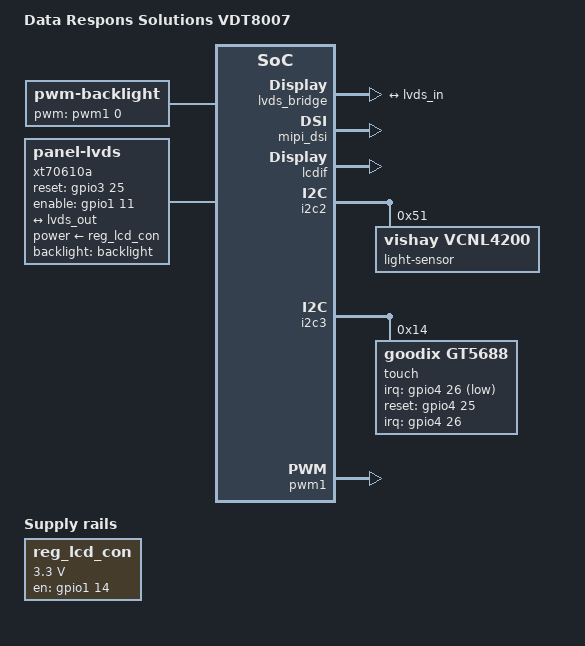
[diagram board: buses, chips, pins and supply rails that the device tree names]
// SPDX-License-Identifier: (GPL-2.0+ OR MIT)
/*
 * Copyright 2021 Data Respons Solutions AB
 */

/dts-v1/;

#include "sdb8000.dts"

/ {
	model = "Data Respons Solutions VDT8007";

	reg_lcd_con: regulator-lcd-con {
		compatible = "regulator-fixed";
		pinctrl-names = "default";
		pinctrl-0 = <&pinctrl_reg_lcd_con>;
		regulator-name = "LCD_CON-VDD";
		regulator-min-microvolt = <3300000>;
		regulator-max-microvolt = <3300000>;
		gpio = <&gpio1 14 GPIO_ACTIVE_HIGH>;
		off-on-delay-us = <20000>;
		enable-active-high;
	};

	backlight: backlight {
		compatible = "pwm-backlight";
		pwms = <&pwm1 0 1000000 0>;
        brightness-levels = <	0 1 2 3 4 5 6 7 8 9 10 15 20 25
        						30 40 50 60 70 80 90 100 120 150
        					>;
		default-brightness-level = <23>;
		status = "okay";
	};

	panel_lvds: xt70610a {
		compatible = "panel-lvds";
		pinctrl-names = "default";
		pinctrl-0 = <&pinctrl_panel>;
		label = "xt70610a";
		data-mapping = "jeida-24";
		width-mm = <154>;
		height-mm = <86>;
		reset-gpios = <&gpio3 25 GPIO_ACTIVE_HIGH>;
		enable-gpios = <&gpio1 11 GPIO_ACTIVE_HIGH>;
		power-supply = <&reg_lcd_con>;
		backlight = <&backlight>;

		panel-timing {
			clock-frequency = <51200000>; // 40,8 ~ 67,2
			hactive = <1024>;
			vactive = <600>;
			hback-porch = <150>;
			hfront-porch = <22>;
			vback-porch = <32>;
			vfront-porch = <22>;
			hsync-len = <10>;
			vsync-len = <10>;
		};

		port {
			lvds_in: endpoint {
				remote-endpoint = <&lvds_out>;
			};
		};
	};
};

&lvds_bridge {
	ports {
		port@2 {
			reg = <2>;
			lvds_out: endpoint {
				remote-endpoint = <&lvds_in>;
			};
		};
	};
};

&mipi_dsi {
	status = "okay";
};

&lcdif {
	status = "okay";
};

&i2c2 {
	light-sensor@51 {
		compatible = "vishay,vcnl4200";
		reg = <0x51>;
		proximity-near-level = <25>;
	};
};

&i2c3 {
	status = "okay";

	touch: gt5688@14 {
		pinctrl-names = "default";
		pinctrl-0 = <&pinctrl_touch>;
    	compatible = "goodix,gt5688";
    	reg = <0x14>;
    	interrupt-parent = <&gpio4>;
    	interrupts = <26 IRQ_TYPE_NONE>;
    	irq-gpios = <&gpio4 26 GPIO_ACTIVE_LOW>;
    	reset-gpios = <&gpio4 25 GPIO_ACTIVE_HIGH>;
	};
};

&usdhc1 {
	status = "disabled";
};

&pwm1 {
	status = "okay";
};

&uart1 {
	status = "disabled";
};

&fec1 {
	status = "disabled";
};

&iomuxc {
	pinctrl_panel: panelgrp {
		fsl,pins = <
			MX8MM_IOMUXC_SAI5_MCLK_GPIO3_IO25	0x0 /* LCD_CON-RESET */
			MX8MM_IOMUXC_GPIO1_IO11_GPIO1_IO11	0x0 /* LCD_CON-STBY */
		>;
	};

	pinctrl_touch: touchgrp {
		fsl,pins = <
			MX8MM_IOMUXC_SAI2_TXD0_GPIO4_IO26	0x80 /* INT_TP */
			MX8MM_IOMUXC_SAI2_TXC_GPIO4_IO25	0x0 /* RST_TP */
		>;
	};

	pinctrl_reg_lcd_con: reglcdcongrp {
		fsl,pins = <
			MX8MM_IOMUXC_GPIO1_IO14_GPIO1_IO14	0x0 /* LCD_PWR_EN */
		>;
	};
};
